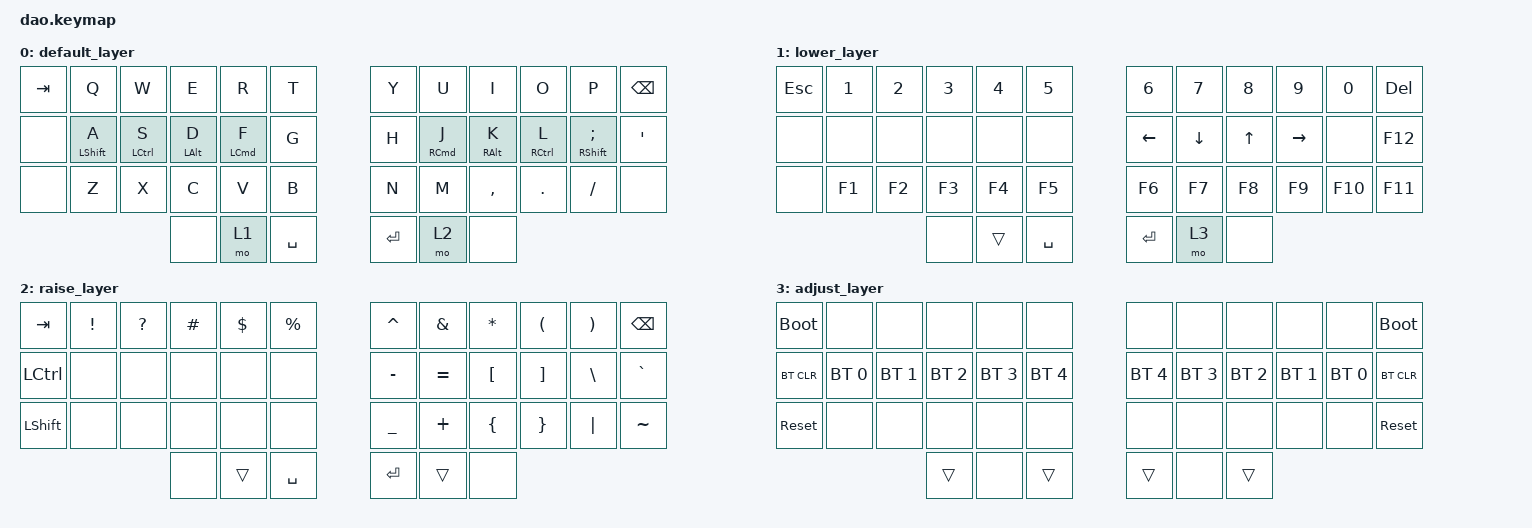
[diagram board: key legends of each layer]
/*
 * Copyright (c) 2021 Rafael Yumagulov
 *
 * SPDX-License-Identifier: MIT
 */

#include <behaviors.dtsi>
#include <dt-bindings/zmk/bt.h>
#include <dt-bindings/zmk/keys.h>

#define DEF 0
#define LWR 1
#define RSE 2
#define ADJ 3

&lt { quick_tap_ms = <200>; };

&mt { quick_tap_ms = <200>; };

/ {
    chosen {
        zmk,matrix_transform = &default_transform;

        // zmk,matrix_transform = &extra_keys_transform;
    };
};

/ {
    behaviors {
        hml: homerow_mods_left {
            compatible = "zmk,behavior-hold-tap";
            label = "HOMEROW_MODS_LEFT_HAND";
            bindings = <&kp>, <&kp>;

            #binding-cells = <2>;
            tapping-term-ms = <200>;
            retro-tap;
        };

        hmr: homerow_mods_right {
            compatible = "zmk,behavior-hold-tap";
            label = "HOMEROW_MODS_RIGHT_HAND";
            bindings = <&kp>, <&kp>;

            #binding-cells = <2>;
            tapping-term-ms = <200>;
            retro-tap;
        };
    };

    keymap {
        compatible = "zmk,keymap";

        default_layer {
            bindings = <
&kp TAB  &kp Q              &kp W                &kp E            &kp R        &kp T      &kp Y      &kp U        &kp I        &kp O         &kp P                  &kp BACKSPACE
&none    &hml LEFT_SHIFT A  &hml LEFT_CONTROL S  &hml LEFT_ALT D  &hml LCMD F  &kp G      &kp H      &hmr RCMD J  &hmr RALT K  &hmr RCTRL L  &hmr RIGHT_SHIFT SEMI  &kp SQT
&none    &kp Z              &kp X                &kp C            &kp V        &kp B      &kp N      &kp M        &kp COMMA    &kp DOT       &kp FSLH               &none
                                                 &none            &mo 1        &kp SPACE  &kp ENTER  &mo 2        &none
            >;
        };

        lower_layer {
            bindings = <
&kp ESCAPE  &kp NUMBER_1  &kp NUMBER_2  &kp NUMBER_3  &kp NUMBER_4  &kp NUMBER_5  &kp NUMBER_6    &kp NUMBER_7    &kp NUMBER_8  &kp NUMBER_9     &kp NUMBER_0  &kp DELETE
&none       &none         &none         &none         &none         &none         &kp LEFT_ARROW  &kp DOWN_ARROW  &kp UP_ARROW  &kp RIGHT_ARROW  &none         &kp F12
&none       &kp F1        &kp F2        &kp F3        &kp F4        &kp F5        &kp F6          &kp F7          &kp F8        &kp F9           &kp F10       &kp F11
                                        &none         &trans        &kp SPACE     &kp ENTER       &mo 3           &none
            >;
        };

        raise_layer {
            bindings = <
&kp TAB     &kp EXCL  &kp QUESTION  &kp HASH  &kp DOLLAR  &kp PERCENT  &kp CARET  &kp AMPERSAND  &kp ASTERISK      &kp LEFT_PARENTHESIS  &kp RIGHT_PARENTHESIS  &kp BACKSPACE
&kp LCTRL   &none     &none         &none     &none       &none        &kp MINUS  &kp EQUAL      &kp LEFT_BRACKET  &kp RIGHT_BRACKET     &kp BSLH               &kp GRAVE
&kp LSHIFT  &none     &none         &none     &none       &none        &kp UNDER  &kp PLUS       &kp LEFT_BRACE    &kp RIGHT_BRACE       &kp PIPE               &kp TILDE
                                    &none     &trans      &kp SPACE    &kp ENTER  &trans         &none
            >;
        };

        adjust_layer {
            bindings = <
&bootloader  &none         &none         &none         &none         &none         &none         &none         &none         &none         &none         &bootloader
&bt BT_CLR   &bt BT_SEL 0  &bt BT_SEL 1  &bt BT_SEL 2  &bt BT_SEL 3  &bt BT_SEL 4  &bt BT_SEL 4  &bt BT_SEL 3  &bt BT_SEL 2  &bt BT_SEL 1  &bt BT_SEL 0  &bt BT_CLR
&sys_reset   &none         &none         &none         &none         &none         &none         &none         &none         &none         &none         &sys_reset
                                         &trans        &none         &trans        &trans        &none         &trans
            >;
        };
    };
};
